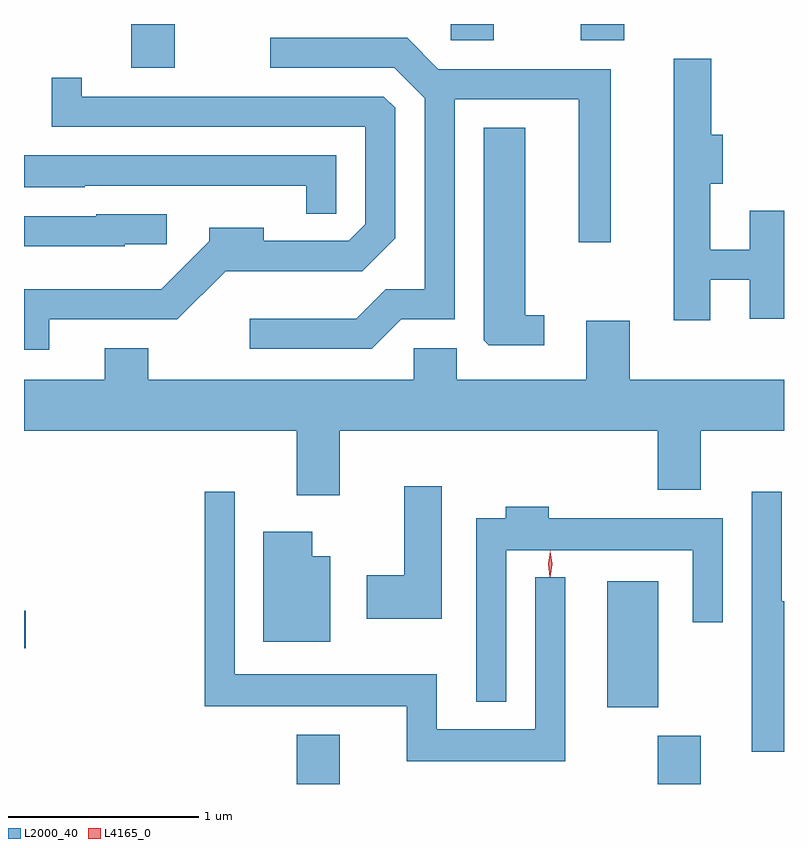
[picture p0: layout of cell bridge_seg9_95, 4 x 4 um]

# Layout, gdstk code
import gdstk
lib = gdstk.Library(unit=1e-6, precision=1e-09)
def R(c, l, rs):  # rectangles x0, y0, x1, y1
    for r in rs: c.add(gdstk.rectangle(r[:2], r[2:], *l))
def P(c, l, *ps):  # polygons
    for p in ps: c.add(gdstk.Polygon(p, *l))
L2000_40 = (2000, 40)
L4165_0 = (4165, 0)

bridge_seg9_95 = lib.new_cell('bridge_seg9_95')
R(bridge_seg9_95, L2000_40, [(1749.861,1981.076,1750.089,1981.334), (1751.761,1981.076,1751.989,1981.329), (1751.496,1981.481,1751.764,1982.144), (1748.426,1981.791,1748.434,1981.989), (1748.991,1984.846,1749.219,1985.076), (1750.671,1984.991,1750.899,1985.076), (1751.356,1984.991,1751.584,1985.076)])
P(bridge_seg9_95, L2000_40, [(1750.412,1983.521),(1750.694,1983.521),(1750.694,1984.681),(1751.346,1984.681),(1751.346,1983.928),(1751.514,1983.928),(1751.514,1984.839),(1750.607,1984.839),(1750.442,1985.004),(1749.723,1985.004),(1749.723,1984.846),(1750.374,1984.846),(1750.536,1984.684),(1750.536,1983.679),(1750.329,1983.679),(1750.174,1983.524),(1749.613,1983.524),(1749.613,1983.366),(1750.257,1983.366)],
  [(1752.039,1983.731),(1752.246,1983.731),(1752.246,1983.526),(1752.426,1983.526),(1752.426,1984.094),(1752.246,1984.094),(1752.246,1983.889),(1752.039,1983.889),(1752.039,1984.236),(1752.104,1984.236),(1752.104,1984.494),(1752.044,1984.494),(1752.044,1984.894),(1751.846,1984.894),(1751.846,1983.516),(1752.039,1983.516)],
  [(1748.559,1983.521),(1749.232,1983.521),(1749.487,1983.776),(1750.207,1983.776),(1750.379,1983.949),(1750.379,1984.634),(1750.319,1984.694),(1748.729,1984.694),(1748.729,1984.793),(1748.571,1984.793),(1748.571,1984.536),(1750.221,1984.536),(1750.221,1984.022),(1750.134,1983.934),(1749.689,1983.934),(1749.689,1984.004),(1749.401,1984.004),(1749.401,1983.932),(1749.149,1983.679),(1748.426,1983.679),(1748.426,1983.361),(1748.559,1983.361)],
  [(1751.163,1983.544),(1751.064,1983.544),(1751.064,1984.529),(1750.846,1984.529),(1750.846,1983.412),(1750.872,1983.386),(1751.163,1983.386)],
  [(1750.069,1984.384),(1748.426,1984.384),(1748.426,1984.216),(1748.745,1984.216),(1748.745,1984.226),(1749.911,1984.226),(1749.911,1984.078),(1750.069,1984.078)],
  [(1748.955,1983.916),(1749.178,1983.916),(1749.178,1984.074),(1748.805,1984.074),(1748.805,1984.064),(1748.426,1984.064),(1748.426,1983.906),(1748.955,1983.906)],
  [(1750.089,1982.936),(1751.761,1982.936),(1751.761,1982.626),(1751.989,1982.626),(1751.989,1982.936),(1752.426,1982.936),(1752.426,1983.204),(1751.614,1983.204),(1751.614,1983.514),(1751.386,1983.514),(1751.386,1983.204),(1750.704,1983.204),(1750.704,1983.369),(1750.476,1983.369),(1750.476,1983.204),(1749.079,1983.204),(1749.079,1983.369),(1748.851,1983.369),(1748.851,1983.204),(1748.426,1983.204),(1748.426,1982.936),(1749.861,1982.936),(1749.861,1982.596),(1750.089,1982.596)],
  [(1750.624,1982.644),(1750.426,1982.644),(1750.426,1982.174),(1750.231,1982.174),(1750.231,1981.946),(1750.624,1981.946)],
  [(1752.426,1982.039),(1752.414,1982.039),(1752.414,1982.613),(1752.256,1982.613),(1752.256,1981.246),(1752.426,1981.246)],
  [(1751.274,1982.163),(1751.116,1982.163),(1751.116,1981.364),(1750.599,1981.364),(1750.599,1981.654),(1749.534,1981.654),(1749.534,1982.613),(1749.376,1982.613),(1749.376,1981.486),(1750.441,1981.486),(1750.441,1981.196),(1751.274,1981.196)],
  [(1750.964,1982.306),(1751.946,1982.306),(1751.946,1981.928),(1752.104,1981.928),(1752.104,1982.474),(1751.189,1982.474),(1751.189,1982.534),(1750.961,1982.534),(1750.961,1982.474),(1750.806,1982.474),(1750.806,1981.508),(1750.964,1981.508)],
  [(1750.039,1982.274),(1749.944,1982.274),(1749.944,1982.404),(1749.686,1982.404),(1749.686,1981.826),(1750.039,1981.826)])
P(bridge_seg9_95, L4165_0, [(1751.194,1982.164),(1751.185,1982.233),(1751.195,1982.302),(1751.196,1982.303),(1751.196,1982.302),(1751.205,1982.233),(1751.195,1982.164),(1751.195,1982.164)],
  [(1751.196,1982.167),(1751.196,1982.167),(1751.186,1982.234),(1751.196,1982.3),(1751.196,1982.301),(1751.197,1982.3),(1751.206,1982.234),(1751.197,1982.167)])

lib.write_gds('bridge_seg9_95.gds')
